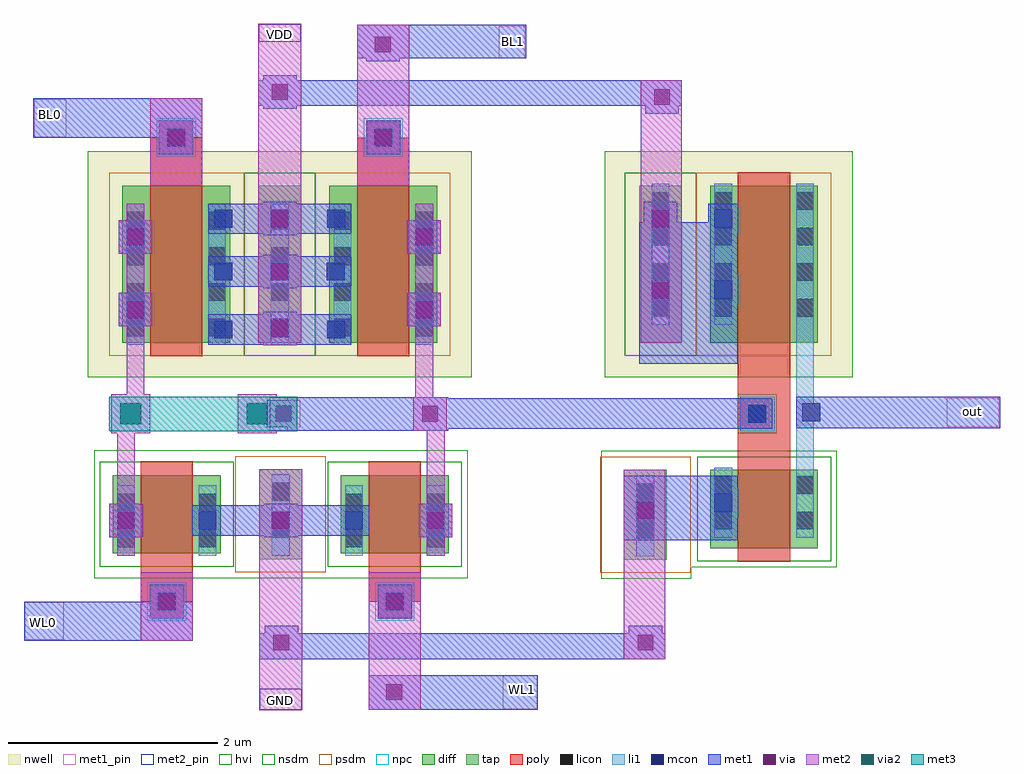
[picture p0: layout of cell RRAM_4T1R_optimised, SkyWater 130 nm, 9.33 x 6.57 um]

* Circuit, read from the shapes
.subckt RRAM_4T1R_optimised BL0 BL1 GND VDD WL0 WL1 out
XM1 GND WL0 rram2_0_0/BE GND sky130_fd_pr__nfet_g5v0d10v5 w=0.75 l=0.5
XM2 rram2_0_0/BE WL1 GND GND sky130_fd_pr__nfet_g5v0d10v5 w=0.75 l=0.5
XM3 out rram2_0_0/BE GND GND sky130_fd_pr__nfet_g5v0d10v5 w=0.75 l=0.5
XM4 VDD BL0 rram2_0_0/BE VDD sky130_fd_pr__pfet_g5v0d10v5 w=1.5 l=0.5
XM5 rram2_0_0/BE BL1 VDD VDD sky130_fd_pr__pfet_g5v0d10v5 w=1.5 l=0.5
XM6 out rram2_0_0/BE VDD VDD sky130_fd_pr__pfet_g5v0d10v5 w=1.5 l=0.5
.ends

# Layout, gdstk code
from math import pi, radians
import gdstk
lib = gdstk.Library(unit=1e-6, precision=1e-09)
def R(c, l, rs):  # rectangles x0, y0, x1, y1
    for r in rs: c.add(gdstk.rectangle(r[:2], r[2:], *l))
def A(c, l, x, y, w, h, nx, ny, dx, dy):  # array of equal rectangles
    R(c, l, [(x+i*dx, y+j*dy, x+i*dx+w, y+j*dy+h) for i in range(nx) for j in range(ny)])
nwell = (64, 20)
diff = (65, 20)
tap = (65, 44)
poly = (66, 20)
licon = (66, 44)
li1 = (67, 20)
mcon = (67, 44)
met1_pin = (68, 16)
met1 = (68, 20)
via = (68, 44)
met2_pin = (69, 16)
met2 = (69, 20)
via2 = (69, 44)
met3 = (70, 20)
hvi = (75, 20)
nsdm = (93, 44)
psdm = (94, 20)
npc = (95, 20)

rram2_0 = lib.new_cell('rram2_0')
R(rram2_0, met1_pin, [(-0.16,-0.13,0.16,0.13)])
R(rram2_0, met1, [(-0.16,-0.13,0.16,0.13)])
R(rram2_0, via, [(-0.075,-0.075,0.075,0.075)])
R(rram2_0, met2_pin, [(-0.13,-0.16,0.13,0.16)])
R(rram2_0, met2, [(-0.13,-0.16,0.13,0.16)])
rram2_0.add(gdstk.Label('TE', (0,0), layer=69, texttype=5))
rram2_0.add(gdstk.Label('BE', (0,0), layer=68, texttype=5))

dfl1sd_cdns_630369580176 = lib.new_cell('DFL1sd_CDNS_630369580176')
R(dfl1sd_cdns_630369580176, diff, [(0,0,0.265,0.75)])
R(dfl1sd_cdns_630369580176, licon, [(0.055,0.06,0.225,0.23), (0.055,0.4,0.225,0.57)])
R(dfl1sd_cdns_630369580176, li1, [(0.055,-0.02,0.225,0.65)])
R(dfl1sd_cdns_630369580176, nsdm, [(-0.125,-0.125,0.39,0.875)])

nfet_symbolic_cdns_63036 = lib.new_cell('nfet_symbolic_CDNS_630369580175')
R(nfet_symbolic_cdns_63036, diff, [(-0.25,0,0,0.75), (0,0,0.5,0.75), (0.5,0,0.75,0.75)])
R(nfet_symbolic_cdns_63036, poly, [(0,-0.13,0.5,0), (0,-0.13,0.5,0.88), (0,0.75,0.5,0.88)])
R(nfet_symbolic_cdns_63036, li1, [(-0.225,-0.02,-0.055,0.65), (0.555,-0.02,0.725,0.65)])
R(nfet_symbolic_cdns_63036, nsdm, [(-0.25,-0.125,0.75,0.875)])
nfet_symbolic_cdns_63036.add(gdstk.Reference(dfl1sd_cdns_630369580176, (0,0), rotation=pi, x_reflection=True))
nfet_symbolic_cdns_63036.add(gdstk.Reference(dfl1sd_cdns_630369580176, (0.5,0)))
nfet_symbolic_cdns_63036.add(gdstk.Label('S', (-0.14,0.315), layer=83, texttype=44))
nfet_symbolic_cdns_63036.add(gdstk.Label('D', (0.64,0.315), layer=83, texttype=44))

nfet_cdns_630369580174 = lib.new_cell('nfet_CDNS_630369580174')
R(nfet_cdns_630369580174, hvi, [(-0.445,-0.18,0.945,0.93)])
nfet_cdns_630369580174.add(gdstk.Reference(nfet_symbolic_cdns_63036, (0,0)))

dfl1sd_cdns_630369580171 = lib.new_cell('DFL1sd_CDNS_6303695801712')
R(dfl1sd_cdns_630369580171, nwell, [(-0.18,-0.18,0.445,1.68)])
R(dfl1sd_cdns_630369580171, diff, [(0,0,0.265,1.5)])
A(dfl1sd_cdns_630369580171, licon, 0.055, 0.06, 0.17, 0.17, 1, 4, 0, 0.34)
R(dfl1sd_cdns_630369580171, li1, [(0.055,-0.02,0.225,1.33)])
R(dfl1sd_cdns_630369580171, psdm, [(-0.125,-0.125,0.39,1.625)])

pfet_symbolic_cdns_63036 = lib.new_cell('pfet_symbolic_CDNS_6303695801711')
R(pfet_symbolic_cdns_63036, nwell, [(-0.445,-0.18,0.945,1.68)])
R(pfet_symbolic_cdns_63036, diff, [(-0.25,0,0,1.5), (0,0,0.5,1.5), (0.5,0,0.75,1.5)])
R(pfet_symbolic_cdns_63036, poly, [(0,-0.13,0.5,0), (0,-0.13,0.5,1.63), (0,1.5,0.5,1.63)])
R(pfet_symbolic_cdns_63036, li1, [(-0.225,-0.02,-0.055,1.33), (0.555,-0.02,0.725,1.33)])
R(pfet_symbolic_cdns_63036, psdm, [(-0.25,-0.125,0.75,1.625)])
pfet_symbolic_cdns_63036.add(gdstk.Reference(dfl1sd_cdns_630369580171, (0,0), rotation=pi, x_reflection=True))
pfet_symbolic_cdns_63036.add(gdstk.Reference(dfl1sd_cdns_630369580171, (0.5,0)))
pfet_symbolic_cdns_63036.add(gdstk.Label('S', (-0.14,0.655), layer=83, texttype=44))
pfet_symbolic_cdns_63036.add(gdstk.Label('D', (0.64,0.655), layer=83, texttype=44))

pfet_cdns_6303695801710 = lib.new_cell('pfet_CDNS_6303695801710')
R(pfet_cdns_6303695801710, nwell, [(-1.275,-0.33,-0.445,1.83), (-0.595,-0.33,1.095,1.83)])
R(pfet_cdns_6303695801710, tap, [(-0.945,0,-0.535,1.5)])
A(pfet_cdns_6303695801710, licon, -0.825, 0.06, 0.17, 0.17, 1, 4, 0, 0.34)
R(pfet_cdns_6303695801710, li1, [(-0.825,-0.02,-0.655,1.33)])
R(pfet_cdns_6303695801710, hvi, [(-1.275,-0.33,-0.445,1.83), (-0.595,-0.33,1.095,1.83)])
R(pfet_cdns_6303695801710, nsdm, [(-1.08,-0.125,-0.4,1.625)])
R(pfet_cdns_6303695801710, psdm, [(-0.4,-0.125,-0.39,1.625)])
pfet_cdns_6303695801710.add(gdstk.Reference(pfet_symbolic_cdns_63036, (0,0)))

l1m1_c_cdns_630369580173 = lib.new_cell('L1M1_C_CDNS_6303695801734')
R(l1m1_c_cdns_630369580173, li1, [(-0.085,-0.085,0.085,0.085)])
R(l1m1_c_cdns_630369580173, mcon, [(-0.085,-0.085,0.085,0.085)])
R(l1m1_c_cdns_630369580173, met1, [(-0.145,-0.145,0.145,0.145)])

m1m2_c_cdns_630369580172 = lib.new_cell('M1M2_C_CDNS_6303695801725')
R(m1m2_c_cdns_630369580172, met1, [(-0.16,-0.16,0.16,0.16)])
R(m1m2_c_cdns_630369580172, via, [(-0.075,-0.075,0.075,0.075)])
R(m1m2_c_cdns_630369580172, met2, [(-0.16,-0.16,0.16,0.16)])

l1m1_c_cdns_630369580172 = lib.new_cell('L1M1_C_CDNS_6303695801729')
R(l1m1_c_cdns_630369580172, li1, [(-0.085,-0.085,0.085,0.085)])
R(l1m1_c_cdns_630369580172, mcon, [(-0.085,-0.085,0.085,0.085)])
R(l1m1_c_cdns_630369580172, met1, [(-0.16,-0.16,0.16,0.16)])

pyl1_c_cdns_630369580173 = lib.new_cell('PYL1_C_CDNS_6303695801737')
R(pyl1_c_cdns_630369580173, poly, [(-0.165,-0.165,0.165,0.165)])
R(pyl1_c_cdns_630369580173, licon, [(-0.085,-0.085,0.085,0.085)])
R(pyl1_c_cdns_630369580173, li1, [(-0.165,-0.165,0.165,0.165)])
R(pyl1_c_cdns_630369580173, npc, [(-0.185,-0.185,0.185,0.185)])

m2m3_c_cdns_630369580173 = lib.new_cell('M2M3_C_CDNS_6303695801738')
R(m2m3_c_cdns_630369580173, met2, [(-0.185,-0.185,0.185,0.185)])
R(m2m3_c_cdns_630369580173, via2, [(-0.1,-0.1,0.1,0.1)])
R(m2m3_c_cdns_630369580173, met3, [(-0.165,-0.165,0.165,0.165)])

rram_4t1r_optimised = lib.new_cell('RRAM_4T1R_optimised')
R(rram_4t1r_optimised, tap, [(7.145,-4.85,7.555,-3.99), (3.66,-4.845,4.07,-3.985)])
R(rram_4t1r_optimised, poly, [(2.525,-5.25,3.025,-4.92), (4.705,-5.25,5.205,-4.92), (8.235,-3.86,8.735,-2.905), (2.615,-1.145,3.115,-0.815), (4.595,-1.145,5.095,-0.815)])
R(rram_4t1r_optimised, licon, [(7.265,-4.645,7.435,-4.475), (3.78,-4.64,3.95,-4.47), (7.265,-4.29,7.435,-4.12), (3.78,-4.285,3.95,-4.115)])
R(rram_4t1r_optimised, li1, [(7.265,-4.815,7.435,-4.04), (3.78,-4.81,3.95,-4.035), (8.79,-3.99,8.96,-2.605)])
R(rram_4t1r_optimised, met1_pin, [(5.985,-6.28,6.315,-5.955), (1.415,-5.615,1.79,-5.255), (10.23,-3.58,10.73,-3.305), (1.51,-0.81,1.815,-0.45), (5.95,-0.055,6.195,0.25)])
R(rram_4t1r_optimised, met1, [(4.705,-6.285,6.32,-5.955), (3.66,-5.8,7.54,-5.555), (1.41,-5.625,3.025,-5.25), (7.145,-4.665,8.235,-4.045), (3.08,-4.62,4.65,-4.33), (3.925,-3.615,5.465,-3.295), (5.465,-3.6,8.555,-3.305), (8.79,-3.595,10.74,-3.29), (7.29,-2.975,8.235,-1.625), (3.17,-2.795,4.54,-2.505), (3.17,-2.24,4.54,-1.95), (3.17,-1.735,4.54,-1.445), (1.5,-0.815,3.115,-0.44), (3.65,-0.51,7.7,-0.265), (4.595,-0.055,6.21,0.265)])
R(rram_4t1r_optimised, met2_pin, [(3.665,-6.285,4.065,-6.085), (3.655,0.1,4.055,0.27)])
R(rram_4t1r_optimised, met2, [(3.66,-6.29,4.07,-3.985), (4.705,-6.285,5.205,-4.97), (7.145,-5.8,7.54,-3.99), (2.525,-5.625,3.025,-4.97), (2.3,-4.81,2.47,-3.29), (5.26,-4.81,5.43,-3.295), (2.39,-3.615,2.56,-1.445), (5.15,-3.615,5.32,-1.445), (3.65,-2.775,4.06,0.275), (7.305,-2.775,7.7,-0.265), (2.615,-1.275,3.115,-0.44), (4.595,-1.275,5.095,0.265)])
R(rram_4t1r_optimised, met3, [(2.225,-3.62,4.02,-3.29)])
R(rram_4t1r_optimised, hvi, [(6.93,-5.03,7.79,-3.81), (2.08,-5.025,3.47,-4.97), (3.425,-5.025,4.285,-3.805), (4.26,-5.025,5.65,-4.97), (2.08,-3.86,3.47,-3.805), (4.26,-3.86,5.65,-3.805)])
R(rram_4t1r_optimised, psdm, [(6.92,-4.975,7.785,-3.865), (3.43,-4.97,4.295,-3.86)])
rram_4t1r_optimised.add(gdstk.Reference(rram2_0, (3.89,-3.455)))
rram_4t1r_optimised.add(gdstk.Reference(nfet_cdns_630369580174, (3.025,-4.79), rotation=pi, x_reflection=True))
rram_4t1r_optimised.add(gdstk.Reference(nfet_cdns_630369580174, (4.705,-4.79)))
rram_4t1r_optimised.add(gdstk.Reference(nfet_cdns_630369580174, (8.235,-3.99), x_reflection=True))
rram_4t1r_optimised.add(gdstk.Reference(pfet_cdns_6303695801710, (3.115,-2.775), rotation=pi, x_reflection=True))
rram_4t1r_optimised.add(gdstk.Reference(pfet_cdns_6303695801710, (4.595,-2.775)))
rram_4t1r_optimised.add(gdstk.Reference(pfet_cdns_6303695801710, (8.235,-1.275), x_reflection=True))
rram_4t1r_optimised.add(gdstk.Reference(l1m1_c_cdns_630369580173, (3.315,-2.095)))
rram_4t1r_optimised.add(gdstk.Reference(l1m1_c_cdns_630369580173, (3.315,-1.59)))
rram_4t1r_optimised.add(gdstk.Reference(l1m1_c_cdns_630369580173, (3.315,-2.65)))
rram_4t1r_optimised.add(gdstk.Reference(l1m1_c_cdns_630369580173, (4.395,-2.65)))
rram_4t1r_optimised.add(gdstk.Reference(l1m1_c_cdns_630369580173, (4.39,-2.095)))
rram_4t1r_optimised.add(gdstk.Reference(l1m1_c_cdns_630369580173, (4.395,-1.59)))
rram_4t1r_optimised.add(gdstk.Reference(l1m1_c_cdns_630369580173, (4.565,-4.475)))
rram_4t1r_optimised.add(gdstk.Reference(l1m1_c_cdns_630369580173, (3.165,-4.475)))
rram_4t1r_optimised.add(gdstk.Reference(l1m1_c_cdns_630369580173, (8.095,-4.305)))
rram_4t1r_optimised.add(gdstk.Reference(l1m1_c_cdns_630369580173, (8.935,-3.44)))
rram_4t1r_optimised.add(gdstk.Reference(l1m1_c_cdns_630369580173, (8.095,-1.59)))
rram_4t1r_optimised.add(gdstk.Reference(l1m1_c_cdns_630369580173, (8.095,-2.27)))
rram_4t1r_optimised.add(gdstk.Reference(l1m1_c_cdns_630369580173, (8.42,-3.455)))
rram_4t1r_optimised.add(gdstk.Reference(m1m2_c_cdns_630369580172, (3.855,-2.64)))
rram_4t1r_optimised.add(gdstk.Reference(m1m2_c_cdns_630369580172, (3.855,-2.095)))
rram_4t1r_optimised.add(gdstk.Reference(m1m2_c_cdns_630369580172, (3.855,-1.59)))
rram_4t1r_optimised.add(gdstk.Reference(m1m2_c_cdns_630369580172, (2.865,-0.815)))
rram_4t1r_optimised.add(gdstk.Reference(m1m2_c_cdns_630369580172, (4.845,-0.815)))
rram_4t1r_optimised.add(gdstk.Reference(m1m2_c_cdns_630369580172, (5.29,-3.455)))
rram_4t1r_optimised.add(gdstk.Reference(m1m2_c_cdns_630369580172, (5.235,-1.765)))
rram_4t1r_optimised.add(gdstk.Reference(m1m2_c_cdns_630369580172, (5.235,-2.46)))
rram_4t1r_optimised.add(gdstk.Reference(m1m2_c_cdns_630369580172, (2.475,-1.765)))
rram_4t1r_optimised.add(gdstk.Reference(m1m2_c_cdns_630369580172, (2.475,-2.46)))
rram_4t1r_optimised.add(gdstk.Reference(m1m2_c_cdns_630369580172, (5.345,-4.475)))
rram_4t1r_optimised.add(gdstk.Reference(m1m2_c_cdns_630369580172, (2.385,-4.475)))
rram_4t1r_optimised.add(gdstk.Reference(m1m2_c_cdns_630369580172, (3.865,-4.475)))
rram_4t1r_optimised.add(gdstk.Reference(m1m2_c_cdns_630369580172, (4.955,-5.25)))
rram_4t1r_optimised.add(gdstk.Reference(m1m2_c_cdns_630369580172, (2.775,-5.25)))
rram_4t1r_optimised.add(gdstk.Reference(m1m2_c_cdns_630369580172, (7.35,-4.38)))
rram_4t1r_optimised.add(gdstk.Reference(m1m2_c_cdns_630369580172, (7.495,-1.59)))
rram_4t1r_optimised.add(gdstk.Reference(m1m2_c_cdns_630369580172, (7.51,-0.425)))
rram_4t1r_optimised.add(gdstk.Reference(m1m2_c_cdns_630369580172, (7.35,-5.64)))
rram_4t1r_optimised.add(gdstk.Reference(m1m2_c_cdns_630369580172, (7.495,-2.27)))
rram_4t1r_optimised.add(gdstk.Reference(m1m2_c_cdns_630369580172, (3.855,-0.38)))
rram_4t1r_optimised.add(gdstk.Reference(m1m2_c_cdns_630369580172, (3.87,-5.64)))
rram_4t1r_optimised.add(gdstk.Reference(m1m2_c_cdns_630369580172, (4.95,-6.115)))
rram_4t1r_optimised.add(gdstk.Reference(m1m2_c_cdns_630369580172, (4.84,0.075)))
rram_4t1r_optimised.add(gdstk.Reference(l1m1_c_cdns_630369580172, (3.855,-2.64)))
rram_4t1r_optimised.add(gdstk.Reference(l1m1_c_cdns_630369580172, (3.855,-2.095)))
rram_4t1r_optimised.add(gdstk.Reference(l1m1_c_cdns_630369580172, (3.855,-1.59)))
rram_4t1r_optimised.add(gdstk.Reference(l1m1_c_cdns_630369580172, (2.865,-0.815)))
rram_4t1r_optimised.add(gdstk.Reference(l1m1_c_cdns_630369580172, (4.845,-0.815)))
rram_4t1r_optimised.add(gdstk.Reference(l1m1_c_cdns_630369580172, (5.235,-1.765)))
rram_4t1r_optimised.add(gdstk.Reference(l1m1_c_cdns_630369580172, (5.235,-2.46)))
rram_4t1r_optimised.add(gdstk.Reference(l1m1_c_cdns_630369580172, (2.475,-1.765)))
rram_4t1r_optimised.add(gdstk.Reference(l1m1_c_cdns_630369580172, (2.475,-2.46)))
rram_4t1r_optimised.add(gdstk.Reference(l1m1_c_cdns_630369580172, (5.345,-4.475)))
rram_4t1r_optimised.add(gdstk.Reference(l1m1_c_cdns_630369580172, (2.385,-4.475)))
rram_4t1r_optimised.add(gdstk.Reference(l1m1_c_cdns_630369580172, (3.865,-4.475)))
rram_4t1r_optimised.add(gdstk.Reference(l1m1_c_cdns_630369580172, (4.955,-5.25)))
rram_4t1r_optimised.add(gdstk.Reference(l1m1_c_cdns_630369580172, (2.775,-5.25)))
rram_4t1r_optimised.add(gdstk.Reference(l1m1_c_cdns_630369580172, (7.495,-1.59)))
rram_4t1r_optimised.add(gdstk.Reference(l1m1_c_cdns_630369580172, (7.35,-4.38)))
rram_4t1r_optimised.add(gdstk.Reference(l1m1_c_cdns_630369580172, (7.495,-2.27)))
rram_4t1r_optimised.add(gdstk.Reference(pyl1_c_cdns_630369580173, (2.865,-0.815)))
rram_4t1r_optimised.add(gdstk.Reference(pyl1_c_cdns_630369580173, (4.845,-0.815)))
rram_4t1r_optimised.add(gdstk.Reference(pyl1_c_cdns_630369580173, (4.955,-5.25)))
rram_4t1r_optimised.add(gdstk.Reference(pyl1_c_cdns_630369580173, (2.775,-5.25)))
rram_4t1r_optimised.add(gdstk.Reference(pyl1_c_cdns_630369580173, (8.42,-3.455)))
rram_4t1r_optimised.add(gdstk.Reference(m2m3_c_cdns_630369580173, (2.43,-3.455)))
rram_4t1r_optimised.add(gdstk.Reference(m2m3_c_cdns_630369580173, (3.64,-3.455)))
rram_4t1r_optimised.add(gdstk.Label('VDD', (3.855,0.175), layer=69, texttype=16))
rram_4t1r_optimised.add(gdstk.Label('GND', (3.865,-6.195), layer=69, texttype=16))
rram_4t1r_optimised.add(gdstk.Label('BL0', (1.66,-0.595), layer=68, texttype=16))
rram_4t1r_optimised.add(gdstk.Label('BL1', (6.085,0.1), layer=68, texttype=16))
rram_4t1r_optimised.add(gdstk.Label('WL0', (1.595,-5.45), layer=68, texttype=16))
rram_4t1r_optimised.add(gdstk.Label('WL1', (6.18,-6.095), layer=68, texttype=16))
rram_4t1r_optimised.add(gdstk.Label('out', (10.475,-3.435), layer=68, texttype=16))

lib.write_gds('RRAM_4T1R_optimised.gds')
